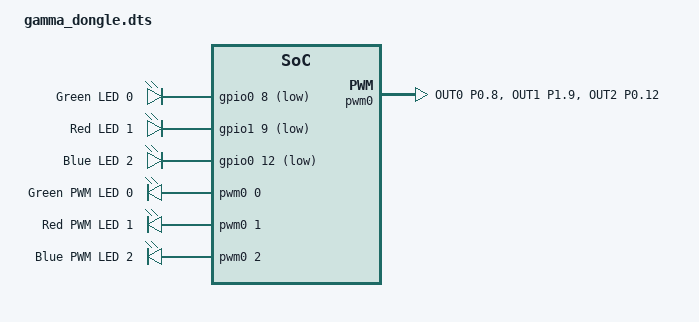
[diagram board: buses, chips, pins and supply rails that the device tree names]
#include "gamma.dtsi"

/ {
	leds {
		compatible = "gpio-leds";
		led0_green: led_0 {
			gpios = <&gpio0 8 GPIO_ACTIVE_LOW>;
			label = "Green LED 0";
		};
		led1_red: led_1 {
			gpios = <&gpio1 9 GPIO_ACTIVE_LOW>;
			label = "Red LED 1";
		};
		led2_blue: led_2 {
			gpios = <&gpio0 12 GPIO_ACTIVE_LOW>;
			label = "Blue LED 2";
		};
	};

	pwmleds {
		compatible = "pwm-leds";
		pwm_led0_green: pwm_led_0 {
			pwms = <&pwm0 0 PWM_MSEC(1) PWM_POLARITY_INVERTED>;
			label = "Green PWM LED 0";
		};
		pwm_led1_red: pwm_led_1 {
			pwms = <&pwm0 1 PWM_MSEC(1) PWM_POLARITY_INVERTED>;
			label = "Red PWM LED 1";
		};
		pwm_led2_blue: pwm_led_2 {
			pwms = <&pwm0 2 PWM_MSEC(1) PWM_POLARITY_INVERTED>;
			label = "Blue PWM LED 2";
		};
	};

	aliases {
		led0 = &led0_green;
		led1 = &led1_red;
		led2 = &led2_blue;
		led0-green = &led0_green;
		led1-red   = &led1_red;
		led1-blue  = &led2_blue;
		pwm-led0 = &pwm_led0_green;
		pwm-led1 = &pwm_led1_red;
		pwm-led2 = &pwm_led2_blue;
		green-pwm-led = &pwm_led0_green;
		red-pwm-led = &pwm_led1_red;
		blue-pwm-led = &pwm_led2_blue;
	};
};

// Set dummy pin that is not triggered by dongle code
&kscan0 {
    input-gpios
        = <&gpio0 31 (GPIO_ACTIVE_LOW | GPIO_PULL_UP)>
        ;
};

&pwm0 {
	status = "okay";
	pinctrl-0 = <&pwm0_default>;
	pinctrl-1 = <&pwm0_sleep>;
	pinctrl-names = "default", "sleep";
};

&pinctrl {
	pwm0_default: pwm0_default {
		group1 {
			psels = <NRF_PSEL(PWM_OUT0, 0, 8)>,
				<NRF_PSEL(PWM_OUT1, 1, 9)>,
				<NRF_PSEL(PWM_OUT2, 0, 12)>;
			nordic,invert;
		};
	};

	pwm0_sleep: pwm0_sleep {
		group1 {
			psels = <NRF_PSEL(PWM_OUT0, 0, 8)>,
				<NRF_PSEL(PWM_OUT1, 1, 9)>,
				<NRF_PSEL(PWM_OUT2, 0, 12)>;
			low-power-enable;
		};
	};
};

